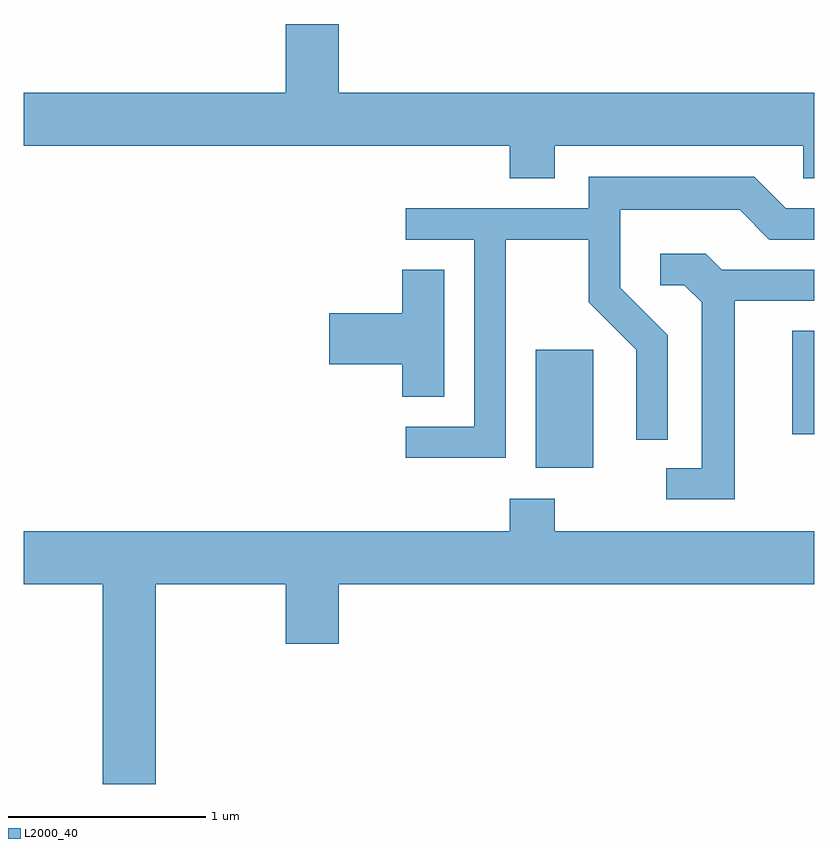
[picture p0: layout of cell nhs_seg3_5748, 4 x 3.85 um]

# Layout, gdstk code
import gdstk
lib = gdstk.Library(unit=1e-6, precision=1e-09)
def R(c, l, rs):  # rectangles x0, y0, x1, y1
    for r in rs: c.add(gdstk.rectangle(r[:2], r[2:], *l))
def P(c, l, *ps):  # polygons
    for p in ps: c.add(gdstk.Polygon(p, *l))
L2000_40 = (2000, 40)

nhs_seg3_5748 = lib.new_cell('nhs_seg3_5748')
R(nhs_seg3_5748, L2000_40, [(356.201,1197.646,356.494,1198.244), (357.501,1197.816,357.611,1198.339)])
P(nhs_seg3_5748, L2000_40, [(356.299,1199.276),(357.556,1199.276),(357.556,1199.111),(357.611,1199.111),(357.611,1199.544),(355.204,1199.544),(355.204,1199.892),(354.936,1199.892),(354.936,1199.544),(353.611,1199.544),(353.611,1199.276),(356.071,1199.276),(356.071,1199.111),(356.299,1199.111)],
  [(356.049,1198.801),(356.471,1198.801),(356.471,1198.484),(356.711,1198.244),(356.711,1197.788),(356.869,1197.788),(356.869,1198.317),(356.629,1198.557),(356.629,1198.951),(357.234,1198.951),(357.384,1198.801),(357.611,1198.801),(357.611,1198.959),(357.467,1198.959),(357.307,1199.119),(356.471,1199.119),(356.471,1198.959),(355.543,1198.959),(355.543,1198.801),(355.891,1198.801),(355.891,1197.854),(355.543,1197.854),(355.543,1197.696),(356.049,1197.696)],
  [(357.209,1198.491),(357.611,1198.491),(357.611,1198.649),(357.142,1198.649),(357.062,1198.729),(356.833,1198.729),(356.833,1198.571),(356.954,1198.571),(357.041,1198.484),(357.041,1197.644),(356.863,1197.644),(356.863,1197.486),(357.209,1197.486)],
  [(355.739,1198.649),(355.526,1198.649),(355.526,1198.429),(355.156,1198.429),(355.156,1198.171),(355.526,1198.171),(355.526,1198.006),(355.739,1198.006)],
  [(354.279,1197.056),(354.936,1197.056),(354.936,1196.756),(355.204,1196.756),(355.204,1197.056),(357.611,1197.056),(357.611,1197.324),(356.299,1197.324),(356.299,1197.489),(356.071,1197.489),(356.071,1197.324),(353.611,1197.324),(353.611,1197.056),(354.011,1197.056),(354.011,1196.046),(354.279,1196.046)])

lib.write_gds('nhs_seg3_5748.gds')
